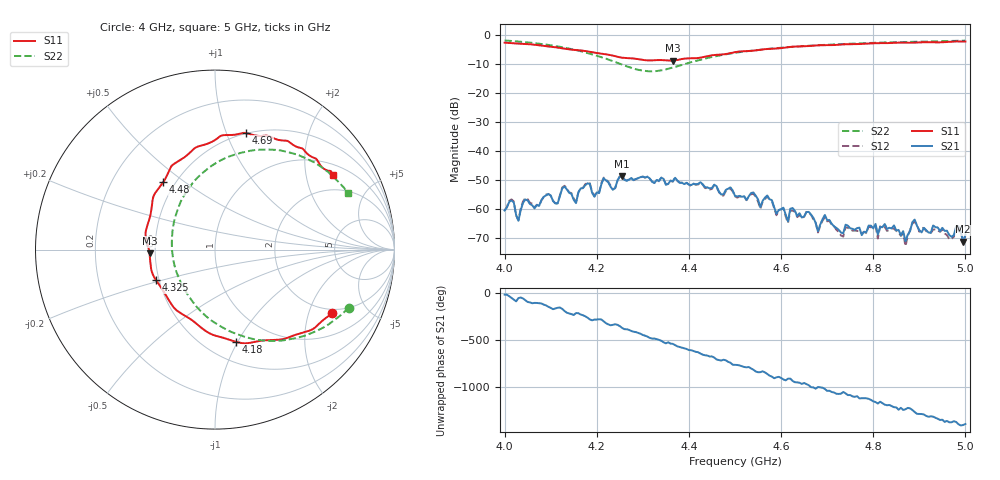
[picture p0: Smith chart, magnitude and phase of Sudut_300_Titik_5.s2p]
# Hz S RI R 50
! CMT, C1220, 16058040, 17.2.0/1
! Date: 15/08/2018 12:23:36
! Data: Format (Calibration Info)
! Freq  S11: Re/Im (F2)  S21: Re/Im (F2)  S12: Re/Im (F2)  S22: Re/Im (F2)
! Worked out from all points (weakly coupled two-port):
!   201 points, 4 GHz to 5 GHz, reference 50 ohm
!   highest |S21| = -48.61 dB at 4.255 GHz (marker M1); lowest = -71.1 dB at 4.995 GHz (marker M2)
!   lowest |S11| = -8.8 dB at 4.365 GHz (marker M3), VSWR 2.15, Z = 23.3 - j1.13 ohm
!   |S11| at or under -10 dB: nowhere
!   |S22| runs from -12.5 to -1.8 dB; largest |S21 - S12| = 0.00017
!   S11 on the Smith chart (normalised r, x): 4 GHz: 1.81, -2.88; 4.18 GHz: 0.69, -0.98; 4.325 GHz: 0.48, -0.19; 4.48 GHz: 0.43, +0.42; 4.69 GHz: 0.50, +1.18; 5 GHz: 1.38, +2.87
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4e9  0.6532 -0.3555  0.0009 -0.000311  0.000913 -0.00028  0.7441 -0.3231
4.015e9  0.6256 -0.3751  0.000804 -0.00117  0.00091 -0.00117  0.7119 -0.3554
4.03e9  0.5915 -0.4022  0.000345 -0.000533  0.000342 -0.00055  0.6753 -0.385
4.045e9  0.5579 -0.434  0.000273 -0.00145  0.000347 -0.00153  0.635 -0.4151
4.155e9  0.1975 -0.5189  -0.00103 0.000756  -0.00109 0.000784  0.2339 -0.5024
4.17e9  0.1459 -0.5205  -0.00117 0.002  -0.00121 0.002  0.1725 -0.4879
4.18e9  0.1158 -0.5132  -0.000216 0.0028  -0.00022 0.00286  0.1319 -0.4737
4.195e9  0.0628 -0.4963  0.000439 0.00159  0.000442 0.00164  0.0719 -0.4499
4.255e9  -0.1406 -0.3844  0.00359 -0.000941  0.0036 -0.00104  -0.1307 -0.2813
4.325e9  -0.3298 -0.1688  -0.00173 -0.00225  -0.00176 -0.00223  -0.2393 -0.00247
4.335e9  -0.3466 -0.1376  -0.00245 -0.00191  -0.0024 -0.00187  -0.2406 0.04
4.365e9  -0.3644 -0.0211  -0.00304 0.00024  -0.00298 0.000229  -0.2278 0.1576
4.48e9  -0.2892 0.375  0.00216 1.58e-05  0.00205 -1.56e-05  -0.0172 0.4678
4.5e9  -0.2549 0.4411  0.00113 -0.00128  0.0011 -0.00126  0.0294 0.496
4.67e9  0.1385 0.6457  0.00023 0.00068  0.000208 0.000641  0.3726 0.5508
4.69e9  0.1734 0.6494  0.000251 0.000629  0.000268 0.000578  0.4065 0.5429
4.835e9  0.4558 0.5724  -0.00021 -0.000433  -0.000176 -0.000406  0.5993 0.4549
4.87e9  0.4991 0.5505  -0.000267 -9.13e-05  -0.000225 -5.72e-05  0.6352 0.4277
4.89e9  0.5299 0.5218  -0.000651 0.000133  -0.000592 0.000128  0.6545 0.4109
4.985e9  0.6478 0.4338  0.000401 0.000321  0.000316 0.000277  0.731 0.3273
4.995e9  0.6532 0.4216  0.00024 0.00014  0.000246 0.000134  0.7389 0.3177
5e9  0.6576 0.4134  0.000275 0.000242  0.000262 0.000225  0.7427 0.3134
